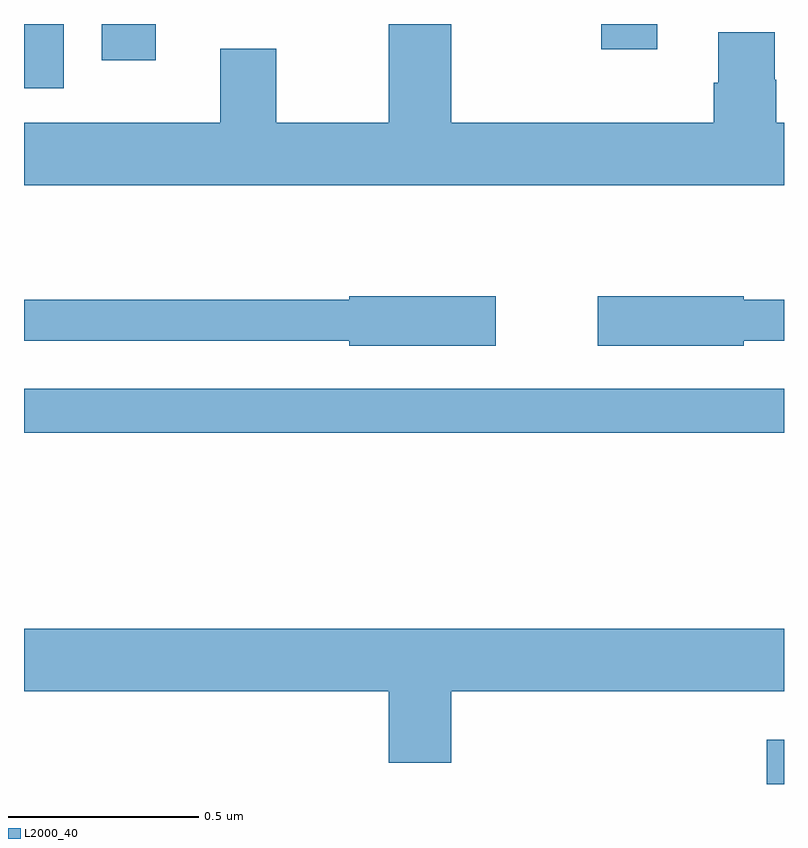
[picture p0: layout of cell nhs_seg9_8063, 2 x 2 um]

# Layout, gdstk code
import gdstk
lib = gdstk.Library(unit=1e-6, precision=1e-09)
def R(c, l, rs):  # rectangles x0, y0, x1, y1
    for r in rs: c.add(gdstk.rectangle(r[:2], r[2:], *l))
def P(c, l, *ps):  # polygons
    for p in ps: c.add(gdstk.Polygon(p, *l))
L2000_40 = (2000, 40)

nhs_seg9_8063 = lib.new_cell('nhs_seg9_8063')
R(nhs_seg9_8063, L2000_40, [(213.955,1205.5,214,1205.617), (212,1206.424,214,1206.54), (212,1207.331,212.104,1207.5), (212.204,1207.404,212.347,1207.5), (213.519,1207.434,213.667,1207.5)])
P(nhs_seg9_8063, L2000_40, [(214,1207.24),(213.98,1207.24),(213.98,1207.353),(213.975,1207.353),(213.975,1207.478),(213.827,1207.478),(213.827,1207.346),(213.815,1207.346),(213.815,1207.24),(213.124,1207.24),(213.124,1207.5),(212.96,1207.5),(212.96,1207.24),(212.664,1207.24),(212.664,1207.435),(212.516,1207.435),(212.516,1207.24),(212,1207.24),(212,1207.076),(214,1207.076)],
  [(213.894,1206.666),(214,1206.666),(214,1206.775),(213.894,1206.775),(213.894,1206.783),(213.51,1206.783),(213.51,1206.653),(213.894,1206.653)],
  [(213.241,1206.783),(212.856,1206.783),(212.856,1206.775),(212,1206.775),(212,1206.666),(212.856,1206.666),(212.856,1206.653),(213.241,1206.653)],
  [(213.124,1205.744),(214,1205.744),(214,1205.908),(212,1205.908),(212,1205.744),(212.96,1205.744),(212.96,1205.556),(213.124,1205.556)])

lib.write_gds('nhs_seg9_8063.gds')
